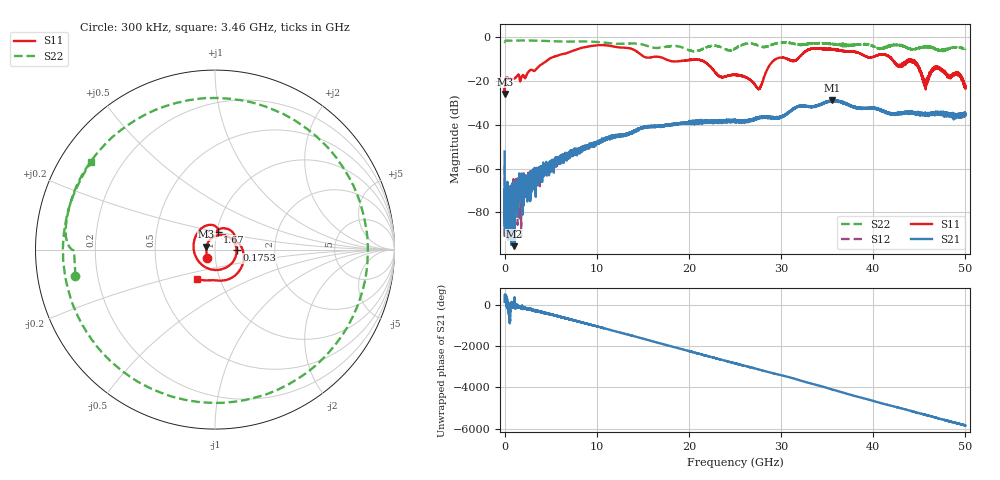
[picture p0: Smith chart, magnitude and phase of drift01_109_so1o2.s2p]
!Created with skrf (http://scikit-rf.org).
# Hz S RI R 50.0
!freq ReS11 ImS11 ReS21 ImS21 ReS12 ImS12 ReS22 ImS22
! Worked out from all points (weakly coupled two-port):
!   10001 points, 300 kHz to 50 GHz, reference 50 ohm
!   highest |S21| = -28.67 dB at 35.58 GHz (marker M1); lowest = -95.5 dB at 1.065 GHz (marker M2)
!   lowest |S11| = -25.8 dB at 5.3 MHz (marker M3), VSWR 1.11, Z = 45.3 + j1.4 ohm
!   |S11| at or under -10 dB: start of sweep to 4.767 GHz; 17.52 GHz to 29.37 GHz (11.85 GHz wide, 50.6 % of centre); 43.82 GHz to end of sweep (the widest 3 of 11)
!   |S22| runs from -6.3 to -1.4 dB; largest |S21 - S12| = 0.0037
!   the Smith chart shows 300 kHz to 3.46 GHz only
!   S11 on the Smith chart (normalised r, x): 300 kHz: 0.91, -0.09; 175.3 MHz: 1.27, -0.01; 1.67 GHz: 1.01, +0.20; 3.46 GHz: 0.77, -0.26
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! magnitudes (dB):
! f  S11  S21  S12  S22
! 300 kHz  -23.5  -52.2  -58.7  -2.0
! 5.3 MHz  -25.8  -74.6  -76.9  -2.1
! 175.3 MHz  -18.4  -81.4  -80.5  -1.4
! 260.3 MHz  -18.3  -80.0  -69.9  -1.4
! 1.065 GHz  -18.8  -95.5  -73.3  -1.5
! 1.67 GHz  -20.0  -66.4  -69.2  -1.4
! 3.46 GHz  -14.3  -63.5  -63.1  -1.5
! 8.335 GHz  -4.8  -51.5  -52.1  -1.8
! 16.67 GHz  -8.8  -40.6  -40.6  -4.8
! 21.22 GHz  -10.3  -38.7  -38.6  -5.7
! 25 GHz  -17.0  -38.5  -38.6  -5.1
! 27.59 GHz  -23.6  -36.9  -36.8  -3.8
! 29.27 GHz  -10.3  -37.0  -36.9  -2.9
! 31.47 GHz  -10.7  -32.3  -32.3  -2.9
! 33.34 GHz  -5.1  -31.6  -31.4  -2.7
! 35.58 GHz  -5.4  -28.7  -28.9  -2.9
! 41.67 GHz  -8.6  -34.7  -34.8  -4.3
! 42.79 GHz  -12.9  -34.5  -34.6  -3.6
! 44.52 GHz  -11.4  -34.2  -34.3  -5.4
! 45.63 GHz  -20.2  -35.1  -34.7  -4.3
! 46.93 GHz  -13.6  -34.6  -34.8  -5.4
! 50 GHz  -22.1  -34.9  -35.5  -5.3
